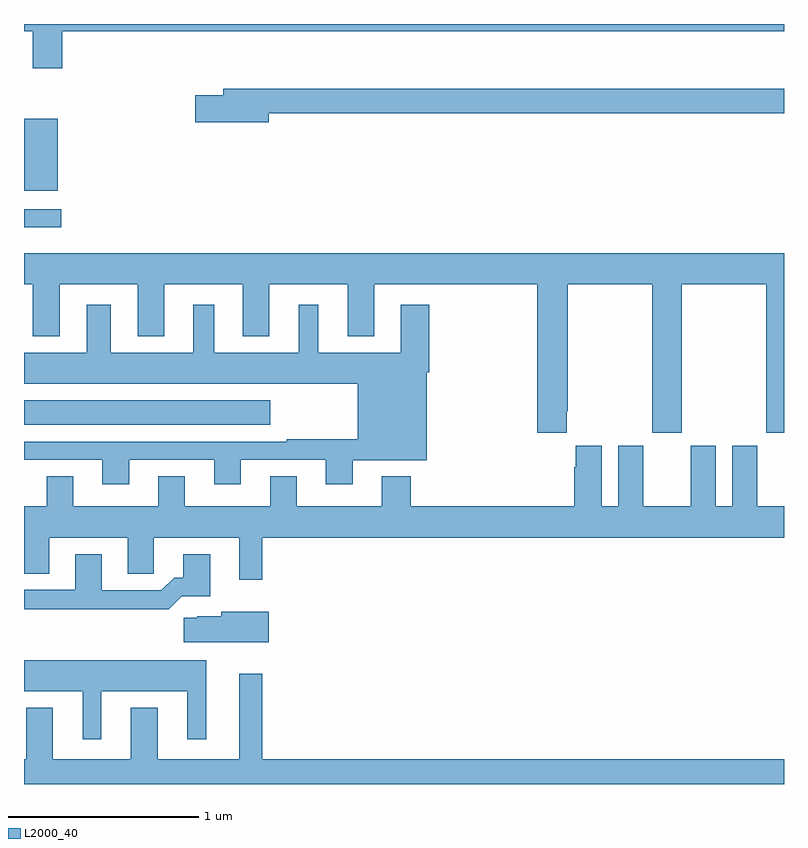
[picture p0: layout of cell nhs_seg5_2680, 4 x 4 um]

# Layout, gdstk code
import gdstk
lib = gdstk.Library(unit=1e-6, precision=1e-09)
def R(c, l, rs):  # rectangles x0, y0, x1, y1
    for r in rs: c.add(gdstk.rectangle(r[:2], r[2:], *l))
def P(c, l, *ps):  # polygons
    for p in ps: c.add(gdstk.Polygon(p, *l))
L2000_40 = (2000, 40)

nhs_seg5_2680 = lib.new_cell('nhs_seg5_2680')
R(nhs_seg5_2680, L2000_40, [(267,854.69,268.297,854.818), (267,855.728,267.196,855.825), (267,855.921,267.178,856.3)])
P(nhs_seg5_2680, L2000_40, [(267.2,856.76),(271,856.76),(271,856.799),(267,856.799),(267,856.76),(267.047,856.76),(267.047,856.566),(267.2,856.566)],
  [(268.288,856.33),(271,856.33),(271,856.459),(268.049,856.459),(268.049,856.425),(267.9,856.425),(267.9,856.283),(268.288,856.283)],
  [(267,855.428),(267.047,855.428),(267.047,855.155),(267.187,855.155),(267.187,855.428),(267.599,855.428),(267.599,855.155),(267.739,855.155),(267.739,855.428),(268.151,855.428),(268.151,855.155),(268.291,855.155),(268.291,855.428),(268.703,855.428),(268.703,855.155),(268.843,855.155),(268.843,855.428),(269.702,855.428),(269.702,854.649),(269.857,854.649),(269.857,854.761),(269.862,854.761),(269.862,855.428),(270.307,855.428),(270.307,854.649),(270.462,854.649),(270.462,855.428),(270.907,855.428),(270.907,854.649),(271,854.649),(271,855.592),(267,855.592)],
  [(267.553,854.505),(268.001,854.505),(268.001,854.376),(268.141,854.376),(268.141,854.505),(268.589,854.505),(268.589,854.376),(268.729,854.376),(268.729,854.504),(269.119,854.504),(269.119,854.966),(269.132,854.966),(269.132,855.322),(268.982,855.322),(268.982,855.07),(268.549,855.07),(268.549,855.322),(268.445,855.322),(268.445,855.07),(268,855.07),(268,855.322),(267.89,855.322),(267.89,855.07),(267.457,855.07),(267.457,855.322),(267.329,855.322),(267.329,855.07),(267,855.07),(267,854.906),(268.757,854.906),(268.757,854.614),(268.384,854.614),(268.384,854.601),(267,854.601),(267,854.505),(267.413,854.505),(267.413,854.376),(267.553,854.376)],
  [(268.255,854.096),(271,854.096),(271,854.26),(270.859,854.26),(270.859,854.578),(270.728,854.578),(270.728,854.26),(270.64,854.26),(270.64,854.578),(270.509,854.578),(270.509,854.26),(270.259,854.26),(270.259,854.578),(270.128,854.578),(270.128,854.26),(270.04,854.26),(270.04,854.578),(269.903,854.578),(269.903,854.465),(269.897,854.465),(269.897,854.26),(269.036,854.26),(269.036,854.419),(268.883,854.419),(268.883,854.26),(268.435,854.26),(268.435,854.42),(268.295,854.42),(268.295,854.26),(267.847,854.26),(267.847,854.42),(267.707,854.42),(267.707,854.26),(267.259,854.26),(267.259,854.42),(267.119,854.42),(267.119,854.26),(267,854.26),(267,853.906),(267.133,853.906),(267.133,854.096),(267.545,854.096),(267.545,853.906),(267.684,853.906),(267.684,854.096),(268.133,854.096),(268.133,853.875),(268.255,853.875)],
  [(267.831,853.788),(267.979,853.788),(267.979,854.008),(267.839,854.008),(267.839,853.885),(267.79,853.885),(267.723,853.818),(267.409,853.818),(267.409,854.008),(267.269,854.008),(267.269,853.821),(267,853.821),(267,853.72),(267.505,853.72),(267.505,853.718),(267.761,853.718)],
  [(268.288,853.705),(268.038,853.705),(268.038,853.681),(267.912,853.681),(267.912,853.673),(267.84,853.673),(267.84,853.544),(268.288,853.544)],
  [(267.406,853.286),(267.86,853.286),(267.86,853.035),(267.958,853.035),(267.958,853.45),(267,853.45),(267,853.286),(267.308,853.286),(267.308,853.035),(267.406,853.035)],
  [(271,852.928),(268.255,852.928),(268.255,853.378),(268.133,853.378),(268.133,852.928),(267.703,852.928),(267.703,853.201),(267.563,853.201),(267.563,852.928),(267.151,852.928),(267.151,853.201),(267.011,853.201),(267.011,852.928),(267,852.928),(267,852.799),(271,852.799)])

lib.write_gds('nhs_seg5_2680.gds')
